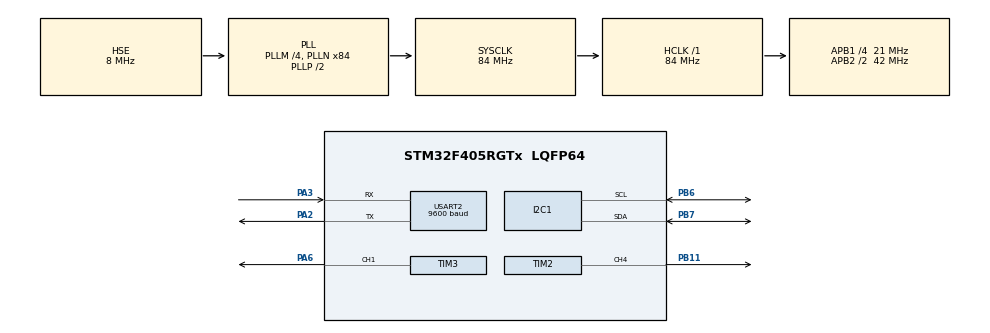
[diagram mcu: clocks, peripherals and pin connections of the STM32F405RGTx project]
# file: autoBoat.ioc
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Mcu.Family=STM32F4
Mcu.Name=STM32F405RGTx
Mcu.Package=LQFP64
NVIC.PriorityGroup=NVIC_PRIORITYGROUP_4
NVIC.USART2_IRQn=true\:0\:0\:false\:false\:true\:true\:true\:true
PA10.Signal=USART1_RX
PA13.Mode=Serial_Wire
PA13.Signal=SYS_JTMS-SWDIO
PA14.Mode=Serial_Wire
PA14.Signal=SYS_JTCK-SWCLK
PA2.Mode=Asynchronous
PA2.Signal=USART2_TX
PA3.Mode=Asynchronous
PA3.Signal=USART2_RX
PA6.Signal=S_TIM3_CH1
PA9.Signal=USART1_TX
PB11.Signal=S_TIM2_CH4
PB6.Mode=I2C
PB6.Signal=I2C1_SCL
PB7.Mode=I2C
PB7.Signal=I2C1_SDA
PH0-OSC_IN.Mode=HSE-External-Oscillator
PH0-OSC_IN.Signal=RCC_OSC_IN
PH1-OSC_OUT.Mode=HSE-External-Oscillator
PH1-OSC_OUT.Signal=RCC_OSC_OUT
ProjectManager.HeapSize=0x200
ProjectManager.StackSize=0x400
ProjectManager.TargetToolchain=STM32CubeIDE
RCC.48MHZClocksFreq_Value=42000000
RCC.AHBFreq_Value=84000000
RCC.APB1CLKDivider=RCC_HCLK_DIV4
RCC.APB1Freq_Value=21000000
RCC.APB1TimFreq_Value=42000000
RCC.APB2CLKDivider=RCC_HCLK_DIV2
RCC.APB2Freq_Value=42000000
RCC.APB2TimFreq_Value=84000000
RCC.CortexFreq_Value=84000000
RCC.HCLKFreq_Value=84000000
RCC.HSE_VALUE=8000000
RCC.HSI_VALUE=16000000
RCC.LSE_VALUE=32768
RCC.PLLM=4
RCC.PLLN=84
RCC.PLLSourceVirtual=RCC_PLLSOURCE_HSE
RCC.SYSCLKFreq_VALUE=84000000
RCC.SYSCLKSource=RCC_SYSCLKSOURCE_PLLCLK
RCC.VCOOutputFreq_Value=168000000
SH.S_TIM2_CH4.0=TIM2_CH4,PWM Generation4 CH4
SH.S_TIM3_CH1.0=TIM3_CH1,PWM Generation1 CH1
TIM2.AutoReloadPreload=TIM_AUTORELOAD_PRELOAD_ENABLE
TIM2.Channel-PWM\ Generation4\ CH4=TIM_CHANNEL_4
TIM2.Period=2000
TIM2.Prescaler=420
TIM2.Pulse-PWM\ Generation4\ CH4=100
TIM3.AutoReloadPreload=TIM_AUTORELOAD_PRELOAD_ENABLE
TIM3.Channel-PWM\ Generation1\ CH1=TIM_CHANNEL_1
TIM3.Period=2000
TIM3.Prescaler=420
TIM3.Pulse-PWM\ Generation1\ CH1=100
USART2.BaudRate=9600
USART2.VirtualMode=VM_ASYNC
VP_TIM2_VS_ClockSourceINT.Mode=Internal
VP_TIM3_VS_ClockSourceINT.Mode=Internal
board=custom

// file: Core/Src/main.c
/* USER CODE BEGIN Header */
/**
  ******************************************************************************
  * @file           : main.c
  * @brief          : Main program body
  ******************************************************************************
  * @attention
  *
  * Copyright (c) 2023 STMicroelectronics.
  * All rights reserved.
  *
  * This software is licensed under terms that can be found in the LICENSE file
  * in the root directory of this software component.
  * If no LICENSE file comes with this software, it is provided AS-IS.
  *
  ******************************************************************************
  */
/* USER CODE END Header */
#include "main.h"

/* USER CODE BEGIN Includes */
#include "structs.h"
#include "gps.h"
#include"QMC5883.h"
#include "arrayFunctions.h"
#include "calculations.h"
#include "PID.h"

/* USER CODE END Includes */

/* USER CODE BEGIN PD */
#define maxWaypoints 20
#define tolorance 1

/* USER CODE END PD */

I2C_HandleTypeDef hi2c1;

TIM_HandleTypeDef htim2;
TIM_HandleTypeDef htim3;

UART_HandleTypeDef huart2;

void SystemClock_Config(void);
static void MX_GPIO_Init(void);
static void MX_I2C1_Init(void);
static void MX_TIM2_Init(void);
static void MX_TIM3_Init(void);
static void MX_USART2_UART_Init(void);

/* USER CODE BEGIN 0 */

double waypoints[maxWaypoints][2];

boatStruct boat;
QMC_t compass;
GPS_t GPS;

float Compas_Value;

void HAL_UART_RxCpltCallback(UART_HandleTypeDef *huart)
{
	if(huart == &huart2) GPS_UART_CallBack(&GPS);
}

/* USER CODE END 0 */

int main(void)
{

  /* USER CODE BEGIN 1 */

  boat.maxPWM = 200;
  boat.minPWM = 100;
  boat.center = 150;
  boat.averagPWM = 180;

  /* USER CODE END 1 */

  /* MCU Configuration--------------------------------------------------------*/

  /* Reset of all peripherals, Initializes the Flash interface and the Systick. */
  HAL_Init();

  /* Configure the system clock */
  SystemClock_Config();

  /* Initialize all configured peripherals */
  MX_GPIO_Init();
  MX_I2C1_Init();
  MX_TIM2_Init();
  MX_TIM3_Init();
  MX_USART2_UART_Init();
  /* USER CODE BEGIN 2 */
  HAL_TIM_PWM_Start(&htim2, TIM_CHANNEL_4); //port
  HAL_TIM_PWM_Start(&htim3, TIM_CHANNEL_1);	//star
  //HAL_Delay(3000);

  //Ublox_initialise(&gps1, &hi2c1);
  QMC_init(&compass, &hi2c1, 200);
  GPS_Init(&huart2);

  TIM2->CCR4 = 150;
  TIM3->CCR1 = 150;

  //HAL_Delay(2000);

  /* USER CODE END 2 */

  /* Infinite loop */
  while (1)
  {

    /* USER CODE BEGIN 3 */

	if(GPS.lock>0){
		if(QMC_read(&compass)==0)
		{

			boat.compass=compass.heading;
		}

	    boat.latitude = GPS.nmea_latitude;
	    boat.longitude = GPS.nmea_longitude;

	    boat.heading = GPS.course_t;
	    boat.groundspeed = GPS.speed_km;

	    double distanceToTarget = haversineDistance(boat.latitude, boat.longitude, waypoints[0][0], waypoints[0][1]);
	    if(distanceToTarget<tolorance){
		    remove_element(waypoints, 0, maxWaypoints);
	    }

	    pidCorrection(&boat, haversineBearing(boat.latitude, boat.longitude, waypoints[0][0], waypoints[0][1]));

	    TIM2->CCR4 = boat.pwmL;
	    TIM3->CCR1 = boat.pwmR;
	}else{
		TIM2->CCR4 = 150;
		TIM3->CCR1 = 150;
	}

  }
  /* USER CODE END 3 */
}

void SystemClock_Config(void)
{
  RCC_OscInitTypeDef RCC_OscInitStruct = {0};
  RCC_ClkInitTypeDef RCC_ClkInitStruct = {0};

  /** Configure the main internal regulator output voltage
  */
  __HAL_RCC_PWR_CLK_ENABLE();
  __HAL_PWR_VOLTAGESCALING_CONFIG(PWR_REGULATOR_VOLTAGE_SCALE1);

  /** Initializes the RCC Oscillators according to the specified parameters
  * in the RCC_OscInitTypeDef structure.
  */
  RCC_OscInitStruct.OscillatorType = RCC_OSCILLATORTYPE_HSE;
  RCC_OscInitStruct.HSEState = RCC_HSE_ON;
  RCC_OscInitStruct.PLL.PLLState = RCC_PLL_ON;
  RCC_OscInitStruct.PLL.PLLSource = RCC_PLLSOURCE_HSE;
  RCC_OscInitStruct.PLL.PLLM = 4;
  RCC_OscInitStruct.PLL.PLLN = 84;
  RCC_OscInitStruct.PLL.PLLP = RCC_PLLP_DIV2;
  RCC_OscInitStruct.PLL.PLLQ = 4;
  if (HAL_RCC_OscConfig(&RCC_OscInitStruct) != HAL_OK)
  {
    Error_Handler();
  }

  /** Initializes the CPU, AHB and APB buses clocks
  */
  RCC_ClkInitStruct.ClockType = RCC_CLOCKTYPE_HCLK|RCC_CLOCKTYPE_SYSCLK
                              |RCC_CLOCKTYPE_PCLK1|RCC_CLOCKTYPE_PCLK2;
  RCC_ClkInitStruct.SYSCLKSource = RCC_SYSCLKSOURCE_PLLCLK;
  RCC_ClkInitStruct.AHBCLKDivider = RCC_SYSCLK_DIV1;
  RCC_ClkInitStruct.APB1CLKDivider = RCC_HCLK_DIV4;
  RCC_ClkInitStruct.APB2CLKDivider = RCC_HCLK_DIV2;

  if (HAL_RCC_ClockConfig(&RCC_ClkInitStruct, FLASH_LATENCY_2) != HAL_OK)
  {
    Error_Handler();
  }
}

static void MX_I2C1_Init(void)
{

  hi2c1.Instance = I2C1;
  hi2c1.Init.ClockSpeed = 100000;
  hi2c1.Init.DutyCycle = I2C_DUTYCYCLE_2;
  hi2c1.Init.OwnAddress1 = 0;
  hi2c1.Init.AddressingMode = I2C_ADDRESSINGMODE_7BIT;
  hi2c1.Init.DualAddressMode = I2C_DUALADDRESS_DISABLE;
  hi2c1.Init.OwnAddress2 = 0;
  hi2c1.Init.GeneralCallMode = I2C_GENERALCALL_DISABLE;
  hi2c1.Init.NoStretchMode = I2C_NOSTRETCH_DISABLE;
  if (HAL_I2C_Init(&hi2c1) != HAL_OK)
  {
    Error_Handler();
  }

}

static void MX_TIM2_Init(void)
{

  TIM_ClockConfigTypeDef sClockSourceConfig = {0};
  TIM_MasterConfigTypeDef sMasterConfig = {0};
  TIM_OC_InitTypeDef sConfigOC = {0};

  htim2.Instance = TIM2;
  htim2.Init.Prescaler = 420;
  htim2.Init.CounterMode = TIM_COUNTERMODE_UP;
  htim2.Init.Period = 2000;
  htim2.Init.ClockDivision = TIM_CLOCKDIVISION_DIV1;
  htim2.Init.AutoReloadPreload = TIM_AUTORELOAD_PRELOAD_ENABLE;
  if (HAL_TIM_Base_Init(&htim2) != HAL_OK)
  {
    Error_Handler();
  }
  sClockSourceConfig.ClockSource = TIM_CLOCKSOURCE_INTERNAL;
  if (HAL_TIM_ConfigClockSource(&htim2, &sClockSourceConfig) != HAL_OK)
  {
    Error_Handler();
  }
  if (HAL_TIM_PWM_Init(&htim2) != HAL_OK)
  {
    Error_Handler();
  }
  sMasterConfig.MasterOutputTrigger = TIM_TRGO_RESET;
  sMasterConfig.MasterSlaveMode = TIM_MASTERSLAVEMODE_DISABLE;
  if (HAL_TIMEx_MasterConfigSynchronization(&htim2, &sMasterConfig) != HAL_OK)
  {
    Error_Handler();
  }
  sConfigOC.OCMode = TIM_OCMODE_PWM1;
  sConfigOC.Pulse = 100;
  sConfigOC.OCPolarity = TIM_OCPOLARITY_HIGH;
  sConfigOC.OCFastMode = TIM_OCFAST_DISABLE;
  if (HAL_TIM_PWM_ConfigChannel(&htim2, &sConfigOC, TIM_CHANNEL_4) != HAL_OK)
  {
    Error_Handler();
  }
  HAL_TIM_MspPostInit(&htim2);

}

static void MX_TIM3_Init(void)
{

  TIM_ClockConfigTypeDef sClockSourceConfig = {0};
  TIM_MasterConfigTypeDef sMasterConfig = {0};
  TIM_OC_InitTypeDef sConfigOC = {0};

  htim3.Instance = TIM3;
  htim3.Init.Prescaler = 420;
  htim3.Init.CounterMode = TIM_COUNTERMODE_UP;
  htim3.Init.Period = 2000;
  htim3.Init.ClockDivision = TIM_CLOCKDIVISION_DIV1;
  htim3.Init.AutoReloadPreload = TIM_AUTORELOAD_PRELOAD_ENABLE;
  if (HAL_TIM_Base_Init(&htim3) != HAL_OK)
  {
    Error_Handler();
  }
  sClockSourceConfig.ClockSource = TIM_CLOCKSOURCE_INTERNAL;
  if (HAL_TIM_ConfigClockSource(&htim3, &sClockSourceConfig) != HAL_OK)
  {
    Error_Handler();
  }
  if (HAL_TIM_PWM_Init(&htim3) != HAL_OK)
  {
    Error_Handler();
  }
  sMasterConfig.MasterOutputTrigger = TIM_TRGO_RESET;
  sMasterConfig.MasterSlaveMode = TIM_MASTERSLAVEMODE_DISABLE;
  if (HAL_TIMEx_MasterConfigSynchronization(&htim3, &sMasterConfig) != HAL_OK)
  {
    Error_Handler();
  }
  sConfigOC.OCMode = TIM_OCMODE_PWM1;
  sConfigOC.Pulse = 100;
  sConfigOC.OCPolarity = TIM_OCPOLARITY_HIGH;
  sConfigOC.OCFastMode = TIM_OCFAST_DISABLE;
  if (HAL_TIM_PWM_ConfigChannel(&htim3, &sConfigOC, TIM_CHANNEL_1) != HAL_OK)
  {
    Error_Handler();
  }
  HAL_TIM_MspPostInit(&htim3);

}

static void MX_USART2_UART_Init(void)
{

  huart2.Instance = USART2;
  huart2.Init.BaudRate = 9600;
  huart2.Init.WordLength = UART_WORDLENGTH_8B;
  huart2.Init.StopBits = UART_STOPBITS_1;
  huart2.Init.Parity = UART_PARITY_NONE;
  huart2.Init.Mode = UART_MODE_TX_RX;
  huart2.Init.HwFlowCtl = UART_HWCONTROL_NONE;
  huart2.Init.OverSampling = UART_OVERSAMPLING_16;
  if (HAL_UART_Init(&huart2) != HAL_OK)
  {
    Error_Handler();
  }

}

static void MX_GPIO_Init(void)
{
  GPIO_InitTypeDef GPIO_InitStruct = {0};

  /* GPIO Ports Clock Enable */
  __HAL_RCC_GPIOH_CLK_ENABLE();
  __HAL_RCC_GPIOA_CLK_ENABLE();
  __HAL_RCC_GPIOB_CLK_ENABLE();

  /*Configure GPIO pins : PA9 PA10 */
  GPIO_InitStruct.Pin = GPIO_PIN_9|GPIO_PIN_10;
  GPIO_InitStruct.Mode = GPIO_MODE_AF_PP;
  GPIO_InitStruct.Pull = GPIO_NOPULL;
  GPIO_InitStruct.Speed = GPIO_SPEED_FREQ_VERY_HIGH;
  GPIO_InitStruct.Alternate = GPIO_AF7_USART1;
  HAL_GPIO_Init(GPIOA, &GPIO_InitStruct);

}

void Error_Handler(void)
{
  __disable_irq();
  while (1)
  {
  }
}
